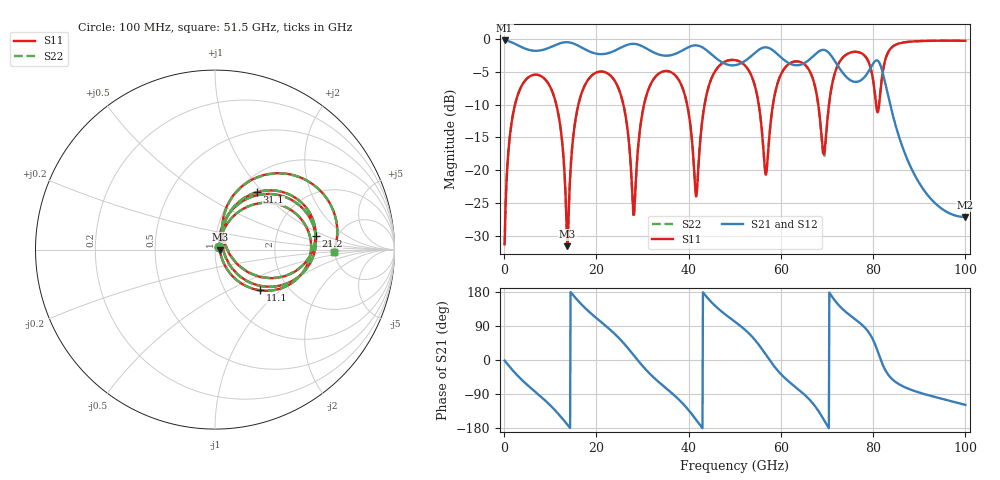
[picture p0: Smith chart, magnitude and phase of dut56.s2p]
! Touchstone file exported from HFSS 2026.1.0
!  File:  C:/ffzhzh/LocalFiles/Ansys_Project_Files/temp_train_TSV_RDL_56_1783622521_33328.aedt
!  Generated:  02:49:02 AM Jul 10, 2026
!  Design:  TSV_RDL
!  Project:  temp_train_TSV_RDL_56_1783622521_33328
! Variables:
!  h_bsmrdl = 4.13um
!  h_ox = 20um
!  h_rdl = 5um
!  h_sub = 65.52um
!  h_tmrdl = 4.79um
!  h_tsv = 65.52um
!  h_via = 3um
!  l_bsmrdl = 493.43um
!  l_sub = 4046.13um
!  l_tmrdl = 521.57um
!  m_sub = 200um
!  pitch = 44.67um
!  r_tsv = 14.05um
!  s_tmrdl = 10um
!  w_bsmrdl = 14.01um
!  w_sub = 500um
!  w_tmrdl = 12.51um
!  x_tsv_center1 = 527.825um
!  x_tsv_center2 = 1035.265um
!  x_tsv_center3 = 1569.345um
!  x_tsv_center4 = 2076.785um
!  x_tsv_center5 = 2610.865um
!  x_tsv_center6 = 3118.305um
# GHz S MA R 50.000000
! Terminal data exported
! Port[1] = TM_RDL1_1_T1
! Port[2] = TM_RDL5_1_T1
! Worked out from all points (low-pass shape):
!   1000 points, 100 MHz to 100 GHz, reference 50 ohm
!   highest |S21| = -0.19 dB at 100 MHz (marker M1); lowest = -27.2 dB at 100 GHz (marker M2)
!   |S21| within 3 dB of the highest: start of sweep to 46.49 GHz; 52.49 GHz to 60.73 GHz (8.241 GHz wide, 14.6 % of centre) (the widest 2 of 3)
!   lowest |S11| = -31.6 dB at 13.7 GHz (marker M3), VSWR 1.05, Z = 52.7 + j0.04 ohm
!   |S11| at or under -10 dB: 11.31 GHz to 16.09 GHz (4.781 GHz wide, 34.9 % of centre); 25.85 GHz to 30.33 GHz (4.48 GHz wide, 15.9 % of centre); 39.67 GHz to 43.46 GHz (3.786 GHz wide, 9.11 % of centre) (the widest 3 of 7)
!   |S22| runs from -31.4 to -0.2 dB; largest |S21 - S12| = 1.1e-11
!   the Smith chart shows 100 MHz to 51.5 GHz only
!   S11 on the Smith chart (normalised r, x): 100 MHz: 1.05, +0.03; 11.1 GHz: 1.44, -0.74; 21.2 GHz: 3.43, +0.75; 31.1 GHz: 1.22, +0.93; 51.5 GHz: 4.89, -0.20
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0.1  0.0271 34.3  0.9779 -1.6  0.9779 -1.6  0.0271 34.3
! Gamma 0 0 0 0
! Port Impedance 50 0 50 0
3.4  0.4118 38.9  0.883 -47.2  0.883 -47.2  0.4118 38.9
11.1  0.3378 -42.2  0.9021 -133.5  0.9021 -133.5  0.3379 -42.1
13.7  0.02622 0.8  0.9481 -170.4  0.9481 -170.4  0.02683 1.0
16.8  0.3872 51.8  0.8641 146.3  0.8641 146.3  0.3873 51.7
21.2  0.566 7.5  0.7687 98.4  0.7687 98.4  0.5661 7.4
25.6  0.344 -36.6  0.872 48.6  0.872 48.6  0.344 -36.9
28.1  0.04557 11.6  0.9213 12.4  0.9213 12.4  0.04352 11.4
31.1  0.3966 53.7  0.8396 -30.3  0.8396 -30.3  0.3962 54.0
33.4  0.5418 30.5  0.7663 -56.9  0.7663 -56.9  0.5416 30.7
38.8  0.4125 -21.2  0.8268 -115.8  0.8268 -115.8  0.4124 -20.9
42.2  0.1187 69.7  0.8901 -167.1  0.8901 -167.1  0.1201 68.9
50.1  0.6919 10.6  0.6333 100.5  0.6333 100.5  0.6921 10.5
51.5  0.6611 -1.0  0.6582 87.2  0.6582 87.2  0.6612 -1.1
57.4  0.1653 58.8  0.857 2.4  0.857 2.4  0.1661 58.2
60.6  0.5863 40.3  0.6981 -44.5  0.6981 -44.5  0.5865 40.0
66.7  0.5253 -13.4  0.7248 -111.2  0.7248 -111.2  0.5247 -14.0
69.3  0.1325 19.9  0.8285 -157.5  0.8285 -157.5  0.1253 19.6
73.8  0.7459 34.6  0.5325 129.7  0.5325 129.7  0.7454 34.9
79.7  0.5537 -11.8  0.6255 60.0  0.6255 60.0  0.5551 -11.6
83.4  0.8119 33.2  0.3496 -40.8  0.3496 -40.8  0.8122 33.0
100  0.9721 -28.6  0.04371 -118.5  0.04371 -118.5  0.9721 -28.8
